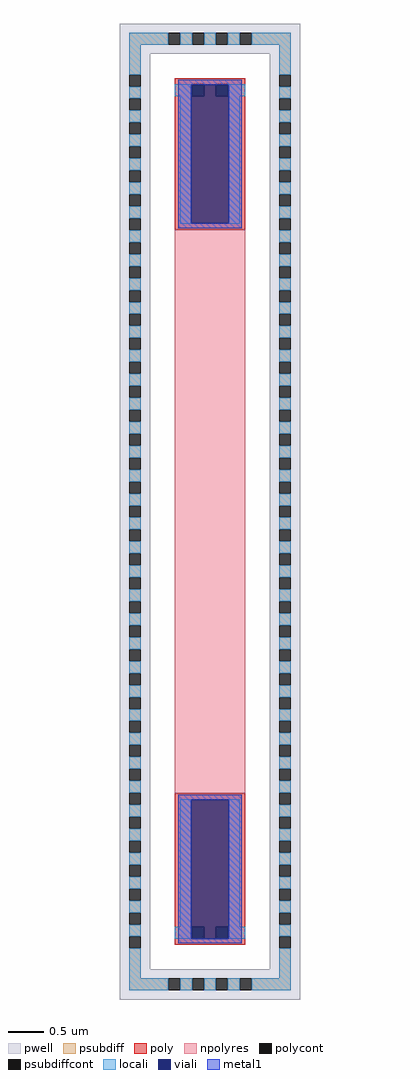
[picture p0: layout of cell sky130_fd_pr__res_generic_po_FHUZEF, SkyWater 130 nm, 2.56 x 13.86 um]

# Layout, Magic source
magic
tech sky130B
magscale 1 2
<< pwell >>
rect -256 1300 256 1386
rect -256 -1300 -170 1300
rect 170 -1300 256 1300
rect -256 -1386 256 -1300
<< psubdiff >>
rect -230 1326 -119 1360
rect -85 1326 -51 1360
rect -17 1326 17 1360
rect 51 1326 85 1360
rect 119 1326 230 1360
rect -230 1241 -196 1326
rect 196 1241 230 1326
rect -230 1173 -196 1207
rect -230 1105 -196 1139
rect -230 1037 -196 1071
rect -230 969 -196 1003
rect -230 901 -196 935
rect -230 833 -196 867
rect -230 765 -196 799
rect -230 697 -196 731
rect -230 629 -196 663
rect -230 561 -196 595
rect -230 493 -196 527
rect -230 425 -196 459
rect -230 357 -196 391
rect -230 289 -196 323
rect -230 221 -196 255
rect -230 153 -196 187
rect -230 85 -196 119
rect -230 17 -196 51
rect -230 -51 -196 -17
rect -230 -119 -196 -85
rect -230 -187 -196 -153
rect -230 -255 -196 -221
rect -230 -323 -196 -289
rect -230 -391 -196 -357
rect -230 -459 -196 -425
rect -230 -527 -196 -493
rect -230 -595 -196 -561
rect -230 -663 -196 -629
rect -230 -731 -196 -697
rect -230 -799 -196 -765
rect -230 -867 -196 -833
rect -230 -935 -196 -901
rect -230 -1003 -196 -969
rect -230 -1071 -196 -1037
rect -230 -1139 -196 -1105
rect -230 -1207 -196 -1173
rect 196 1173 230 1207
rect 196 1105 230 1139
rect 196 1037 230 1071
rect 196 969 230 1003
rect 196 901 230 935
rect 196 833 230 867
rect 196 765 230 799
rect 196 697 230 731
rect 196 629 230 663
rect 196 561 230 595
rect 196 493 230 527
rect 196 425 230 459
rect 196 357 230 391
rect 196 289 230 323
rect 196 221 230 255
rect 196 153 230 187
rect 196 85 230 119
rect 196 17 230 51
rect 196 -51 230 -17
rect 196 -119 230 -85
rect 196 -187 230 -153
rect 196 -255 230 -221
rect 196 -323 230 -289
rect 196 -391 230 -357
rect 196 -459 230 -425
rect 196 -527 230 -493
rect 196 -595 230 -561
rect 196 -663 230 -629
rect 196 -731 230 -697
rect 196 -799 230 -765
rect 196 -867 230 -833
rect 196 -935 230 -901
rect 196 -1003 230 -969
rect 196 -1071 230 -1037
rect 196 -1139 230 -1105
rect 196 -1207 230 -1173
rect -230 -1326 -196 -1241
rect 196 -1326 230 -1241
rect -230 -1360 -119 -1326
rect -85 -1360 -51 -1326
rect -17 -1360 17 -1326
rect 51 -1360 85 -1326
rect 119 -1360 230 -1326
<< psubdiffcont >>
rect -119 1326 -85 1360
rect -51 1326 -17 1360
rect 17 1326 51 1360
rect 85 1326 119 1360
rect -230 1207 -196 1241
rect -230 1139 -196 1173
rect -230 1071 -196 1105
rect -230 1003 -196 1037
rect -230 935 -196 969
rect -230 867 -196 901
rect -230 799 -196 833
rect -230 731 -196 765
rect -230 663 -196 697
rect -230 595 -196 629
rect -230 527 -196 561
rect -230 459 -196 493
rect -230 391 -196 425
rect -230 323 -196 357
rect -230 255 -196 289
rect -230 187 -196 221
rect -230 119 -196 153
rect -230 51 -196 85
rect -230 -17 -196 17
rect -230 -85 -196 -51
rect -230 -153 -196 -119
rect -230 -221 -196 -187
rect -230 -289 -196 -255
rect -230 -357 -196 -323
rect -230 -425 -196 -391
rect -230 -493 -196 -459
rect -230 -561 -196 -527
rect -230 -629 -196 -595
rect -230 -697 -196 -663
rect -230 -765 -196 -731
rect -230 -833 -196 -799
rect -230 -901 -196 -867
rect -230 -969 -196 -935
rect -230 -1037 -196 -1003
rect -230 -1105 -196 -1071
rect -230 -1173 -196 -1139
rect -230 -1241 -196 -1207
rect 196 1207 230 1241
rect 196 1139 230 1173
rect 196 1071 230 1105
rect 196 1003 230 1037
rect 196 935 230 969
rect 196 867 230 901
rect 196 799 230 833
rect 196 731 230 765
rect 196 663 230 697
rect 196 595 230 629
rect 196 527 230 561
rect 196 459 230 493
rect 196 391 230 425
rect 196 323 230 357
rect 196 255 230 289
rect 196 187 230 221
rect 196 119 230 153
rect 196 51 230 85
rect 196 -17 230 17
rect 196 -85 230 -51
rect 196 -153 230 -119
rect 196 -221 230 -187
rect 196 -289 230 -255
rect 196 -357 230 -323
rect 196 -425 230 -391
rect 196 -493 230 -459
rect 196 -561 230 -527
rect 196 -629 230 -595
rect 196 -697 230 -663
rect 196 -765 230 -731
rect 196 -833 230 -799
rect 196 -901 230 -867
rect 196 -969 230 -935
rect 196 -1037 230 -1003
rect 196 -1105 230 -1071
rect 196 -1173 230 -1139
rect 196 -1241 230 -1207
rect -119 -1360 -85 -1326
rect -51 -1360 -17 -1326
rect 17 -1360 51 -1326
rect 85 -1360 119 -1326
<< poly >>
rect -100 1214 100 1230
rect -100 1180 -51 1214
rect -17 1180 17 1214
rect 51 1180 100 1214
rect -100 800 100 1180
rect -100 -1180 100 -800
rect -100 -1214 -51 -1180
rect -17 -1214 17 -1180
rect 51 -1214 100 -1180
rect -100 -1230 100 -1214
<< polycont >>
rect -51 1180 -17 1214
rect 17 1180 51 1214
rect -51 -1214 -17 -1180
rect 17 -1214 51 -1180
<< npolyres >>
rect -100 -800 100 800
<< locali >>
rect -230 1326 -119 1360
rect -85 1326 -51 1360
rect -17 1326 17 1360
rect 51 1326 85 1360
rect 119 1326 230 1360
rect -230 1241 -196 1326
rect 196 1241 230 1326
rect -230 1173 -196 1207
rect -100 1212 -51 1214
rect -17 1212 17 1214
rect 51 1212 100 1214
rect -100 1180 -53 1212
rect 53 1180 100 1212
rect -230 1105 -196 1139
rect -230 1037 -196 1071
rect -230 969 -196 1003
rect -230 901 -196 935
rect -230 833 -196 867
rect -84 818 -53 1180
rect 53 818 84 1180
rect -84 817 84 818
rect 196 1173 230 1207
rect 196 1105 230 1139
rect 196 1037 230 1071
rect 196 969 230 1003
rect 196 901 230 935
rect 196 833 230 867
rect -230 765 -196 799
rect -230 697 -196 731
rect -230 629 -196 663
rect -230 561 -196 595
rect -230 493 -196 527
rect -230 425 -196 459
rect -230 357 -196 391
rect -230 289 -196 323
rect -230 221 -196 255
rect -230 153 -196 187
rect -230 85 -196 119
rect -230 17 -196 51
rect -230 -51 -196 -17
rect -230 -119 -196 -85
rect -230 -187 -196 -153
rect -230 -255 -196 -221
rect -230 -323 -196 -289
rect -230 -391 -196 -357
rect -230 -459 -196 -425
rect -230 -527 -196 -493
rect -230 -595 -196 -561
rect -230 -663 -196 -629
rect -230 -731 -196 -697
rect -230 -799 -196 -765
rect 196 765 230 799
rect 196 697 230 731
rect 196 629 230 663
rect 196 561 230 595
rect 196 493 230 527
rect 196 425 230 459
rect 196 357 230 391
rect 196 289 230 323
rect 196 221 230 255
rect 196 153 230 187
rect 196 85 230 119
rect 196 17 230 51
rect 196 -51 230 -17
rect 196 -119 230 -85
rect 196 -187 230 -153
rect 196 -255 230 -221
rect 196 -323 230 -289
rect 196 -391 230 -357
rect 196 -459 230 -425
rect 196 -527 230 -493
rect 196 -595 230 -561
rect 196 -663 230 -629
rect 196 -731 230 -697
rect 196 -799 230 -765
rect -230 -867 -196 -833
rect -230 -935 -196 -901
rect -230 -1003 -196 -969
rect -230 -1071 -196 -1037
rect -230 -1139 -196 -1105
rect -230 -1207 -196 -1173
rect -84 -819 84 -817
rect -84 -1180 -53 -819
rect 53 -1180 84 -819
rect 196 -867 230 -833
rect 196 -935 230 -901
rect 196 -1003 230 -969
rect 196 -1071 230 -1037
rect 196 -1139 230 -1105
rect -100 -1213 -53 -1180
rect 53 -1213 100 -1180
rect -100 -1214 -51 -1213
rect -17 -1214 17 -1213
rect 51 -1214 100 -1213
rect 196 -1207 230 -1173
rect -230 -1326 -196 -1241
rect 196 -1326 230 -1241
rect -230 -1360 -119 -1326
rect -85 -1360 -51 -1326
rect -17 -1360 17 -1326
rect 51 -1360 85 -1326
rect 119 -1360 230 -1326
<< viali >>
rect -53 1180 -51 1212
rect -51 1180 -17 1212
rect -17 1180 17 1212
rect 17 1180 51 1212
rect 51 1180 53 1212
rect -53 818 53 1180
rect -53 -1180 53 -819
rect -53 -1213 -51 -1180
rect -51 -1213 -17 -1180
rect -17 -1213 17 -1180
rect 17 -1213 51 -1180
rect 51 -1213 53 -1180
<< metal1 >>
rect -90 1212 90 1226
rect -90 818 -53 1212
rect 53 818 90 1212
rect -90 805 90 818
rect -90 -819 90 -805
rect -90 -1213 -53 -819
rect 53 -1213 90 -819
rect -90 -1226 90 -1213
<< properties >>
string FIXED_BBOX -213 -1343 213 1343
<< end >>
